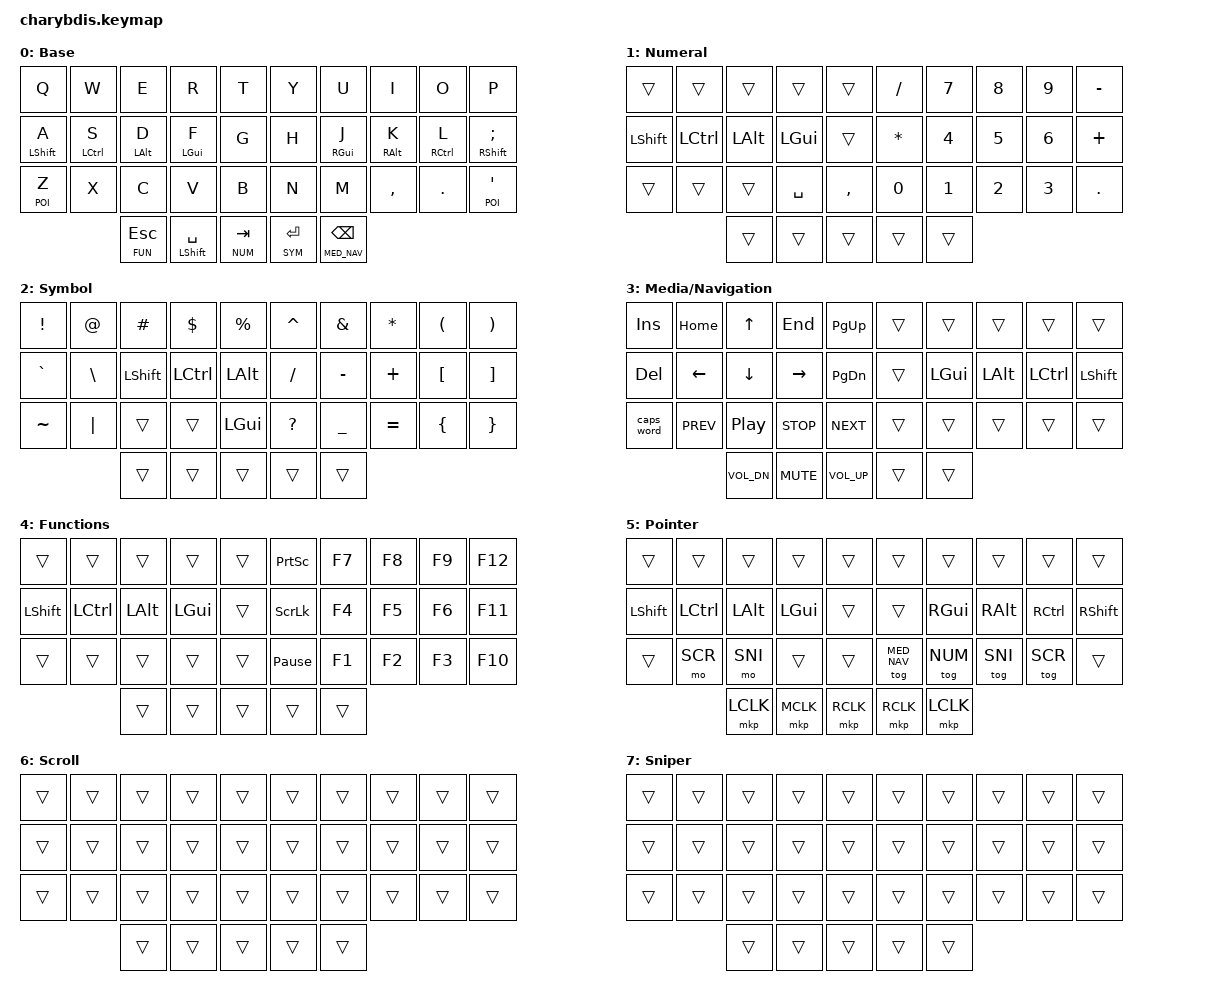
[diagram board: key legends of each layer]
#include <dt-bindings/zmk/mouse.h>
#include <behaviors/mouse_keys.dtsi>
#include <behaviors.dtsi>
#include <dt-bindings/zmk/bt.h>
#include <dt-bindings/zmk/keys.h>

#define BASE 0
#define NUM 1
#define SYM 2
#define MED_NAV 3
#define FUN 4
#define POI 5
#define SCR 6
#define SNI 7

&lt {
    tapping-term-ms = <200>;
    require-prior-idle-ms = <0>;
};

/ {
    chosen { zmk,matrix_transform = &five_column_transform; };

    #include "combos.dtsi"

    behaviors {
        hml: homewrow_mods_left {
            compatible = "zmk,behavior-hold-tap";
            bindings = <&kp>, <&kp>;

            #binding-cells = <2>;
            tapping-term-ms = <280>;
            hold-trigger-key-positions = <5 6 7 8 9 15 16 17 18 19 25 26 27 28 29 33 34>;
            flavor = "balanced";
            quick-tap-ms = <175>;
            require-prior-idle-ms = <150>;
            hold-trigger-on-release;
        };

        hmr: homewrow_mods_right {
            compatible = "zmk,behavior-hold-tap";
            bindings = <&kp>, <&kp>;

            #binding-cells = <2>;
            tapping-term-ms = <280>;
            hold-trigger-key-positions = <0 1 2 3 4 10 11 12 13 14 20 21 22 23 24 30 31 32>;
            flavor = "balanced";
            quick-tap-ms = <175>;
            require-prior-idle-ms = <150>;
            hold-trigger-on-release;
        };

        lth: layer_tap_hold {
            compatible = "zmk,behavior-hold-tap";
            bindings = <&mo>, <&kp>;
            flavor = "hold-preferred";
            tapping-term-ms = <200>;
            #binding-cells = <2>;
        };
  };


  keymap {
      compatible = "zmk,keymap";
      Base {
          display-name = "Base";
          bindings = <
            &kp Q          &kp W          &kp E            &kp R               &kp T         &kp Y             &kp U          &kp I          &kp O          &kp P
            &hml LSHFT A   &hml LCTRL S   &hml LALT D      &hml LGUI F         &kp G         &kp H             &hmr RGUI J    &hmr RALT K    &hmr RCTRL L   &hmr RSHFT SEMI
            &lt POI Z      &kp       X    &kp       C      &kp       V         &kp B         &kp N             &kp       M    &kp COMMA      &kp DOT        &lt POI APOS
                                          &lth FUN ESC     &mt LSHFT SPACE     &lth NUM TAB  &lth SYM RET      &lth MED_NAV BSPC
          >;
      };

      Numeral {
          display-name = "Numeral";
          bindings = <
            &trans      &trans      &trans     &trans     &trans     &kp FSLH    &kp N7  &kp N8  &kp N9  &kp MINUS
            &kp LSHFT   &kp LCTRL   &kp LALT   &kp LGUI   &trans     &kp STAR    &kp N4  &kp N5  &kp N6  &kp PLUS
            &trans      &trans      &trans     &kp SPACE  &kp COMMA  &kp N0      &kp N1  &kp N2  &kp N3  &kp DOT
                                    &trans     &trans     &trans     &trans      &trans
          >;
      };

      Symbol {
          display-name = "Symbol";
          bindings = <
            &kp EXCL   &kp AT     &kp HASH      &kp DLLR    &kp PRCNT     &kp CARET     &kp AMPS     &kp STAR     &kp LPAR    &kp RPAR
            &kp GRAVE  &kp BSLH   &kp LSHFT     &kp LCTRL   &kp LALT      &kp FSLH      &kp MINUS    &kp PLUS     &kp LBKT    &kp RBKT
            &kp TILDE  &kp PIPE   &trans        &trans      &kp LGUI      &kp QMARK     &kp UNDER    &kp EQUAL    &kp LBRC    &kp RBRC
                                  &trans        &trans      &trans        &trans        &trans
            >;
        };

        MediaNavigation {
          display-name = "Media/Navigation";
          bindings = <
            &kp INS          &kp HOME          &kp UP            &kp END         &kp PG_UP      &trans      &trans      &trans      &trans       &trans
            &kp DEL          &kp LEFT          &kp DOWN          &kp RIGHT       &kp PG_DN      &trans      &kp LGUI    &kp LALT    &kp LCTRL    &kp LSHIFT
            &caps_word       &kp C_PREV        &kp C_PLAY_PAUSE  &kp C_STOP      &kp C_NEXT     &trans      &trans      &trans      &trans       &trans
                             &kp C_VOL_DN      &kp C_MUTE        &kp C_VOL_UP    &trans         &trans
            >;
        };

        Functions {
          display-name = "Functions";
          bindings = <
            &trans      &trans      &trans     &trans     &trans     &kp PSCRN        &kp F7  &kp F8  &kp F9  &kp F12
            &kp LSHFT   &kp LCTRL   &kp LALT   &kp LGUI   &trans     &kp SLCK         &kp F4  &kp F5  &kp F6  &kp F11
            &trans      &trans      &trans     &trans     &trans     &kp PAUSE_BREAK  &kp F1  &kp F2  &kp F3  &kp F10
                                    &trans     &trans     &trans     &trans           &trans
            >;
        };

        Pointer {
            display-name = "Pointer";
            bindings = <
              &trans       &trans       &trans        &trans        &trans               &trans         &trans        &trans        &trans       &trans
              &kp LSHFT    &kp LCTRL    &kp LALT      &kp LGUI      &trans               &trans         &kp RGUI      &kp RALT      &kp RCTRL    &kp RSHFT
              &trans       &mo SCR      &mo SNI       &trans        &trans               &tog MED_NAV   &tog NUM      &tog SNI      &tog SCR     &trans
                                        &mkp LCLK     &mkp MCLK     &mkp RCLK            &mkp RCLK      &mkp LCLK
            >;
        };

        Scroll {
            display-name = "Scroll";
            bindings = <
                &trans  &trans  &trans  &trans  &trans    &trans  &trans  &trans  &trans  &trans
                &trans  &trans  &trans  &trans  &trans    &trans  &trans  &trans  &trans  &trans
                &trans  &trans  &trans  &trans  &trans    &trans  &trans  &trans  &trans  &trans
                                &trans  &trans  &trans    &trans  &trans
            >;
        };

        Sniper {
            display-name = "Sniper";
            bindings = <
                &trans  &trans  &trans  &trans  &trans    &trans  &trans  &trans  &trans  &trans
                &trans  &trans  &trans  &trans  &trans    &trans  &trans  &trans  &trans  &trans
                &trans  &trans  &trans  &trans  &trans    &trans  &trans  &trans  &trans  &trans
                                &trans  &trans  &trans    &trans  &trans
            >;
        };
    };
};
